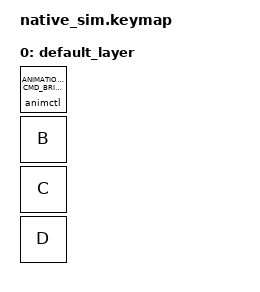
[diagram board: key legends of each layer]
#include "../test.dtsi"
#include <dt-bindings/zmk/keys.h>
#include <dt-bindings/zmk/kscan_mock.h>
#include <zmk_driver_animation/animation.dtsi>
#include <behaviors/animation_control.dtsi>
#include <dt-bindings/zmk_driver_animation/animation_control.h>

/*
 * Phase C runtime write-through test (DESIGN.md #3.5, #6 scope item 4):
 * pressing animctl's BRIGHT command mutates control.c's in-memory
 * brightness_powered field *and* (CONFIG_ZMK_ANIMATION_CUSTOM_SETTINGS=y)
 * write-throughs to the custom-settings registry (MEMORY mode). This is
 * proven indirectly via a log line (no RPC read-back exists yet - Phase D):
 * CONFIG_ZMK_ANIMATION_SETTINGS_TEST's changed-listener
 * (src/test/animation_settings_test.c) reads the setting back through
 * zmk_custom_setting_read_by_key()-equivalent (zmk_custom_setting_read())
 * and logs the *registry's* effective value, not control.c's own struct
 * field - so a passing "registry brightness_powered=3" log line demonstrates
 * the custom-settings registry itself (not just control state) was updated.
 *
 * default-battery-brightness is 2; one ANIMATION_CONTROL_CMD_BRIGHT +1 press
 * (CURRENT power source, which resolves to "battery" here since
 * CONFIG_USB_DEVICE_STACK is off in this native_sim build -
 * power_policy.c's zmk_animation_power_policy_is_powered() always returns
 * false without it) shifts brightness_battery to 3.
 */

/ {
    mock_led_strip0: mock_led_strip_0 {
        compatible = "zmk,mock-led-strip";
        chain-length = <2>;
    };

    animation: animation {
        compatible = "zmk,animation";
        drivers = <&mock_led_strip0>;
        chain-lengths = <2>;
        pixels = <&pixel 0 0>, <&pixel 1 0>;
    };

    animation_solid0: animation_solid_0 {
        compatible = "zmk,animation-solid";
        pixels = <0 1>;
        colors = <HSL(0, 100, 50)>;
    };

    animation_control0: animation_control_0 {
        compatible = "zmk,animation-control";
        powered-animations = <&animation_solid0>;
        battery-animations = <&animation_solid0>;
        behavior-animations = <&animation_solid0>;
        brightness-steps = <5>;
        default-powered-brightness = <2>;
        default-battery-brightness = <2>;
    };

    chosen {
        zmk,animation = &animation_control0;
        zmk,animation-control = &animation_control0;
    };
};

&kscan {
    events = <
    ZMK_MOCK_PRESS(0,0,50)
    ZMK_MOCK_RELEASE(0,0,50)
    >;
};

/ {
    keymap {
        compatible = "zmk,keymap";

        default_layer {
            bindings = <
            &animctl ANIMATION_CONTROL_CMD_BRIGHT 1
            &kp B
            &kp C
            &kp D
            >;
        };
    };
};
